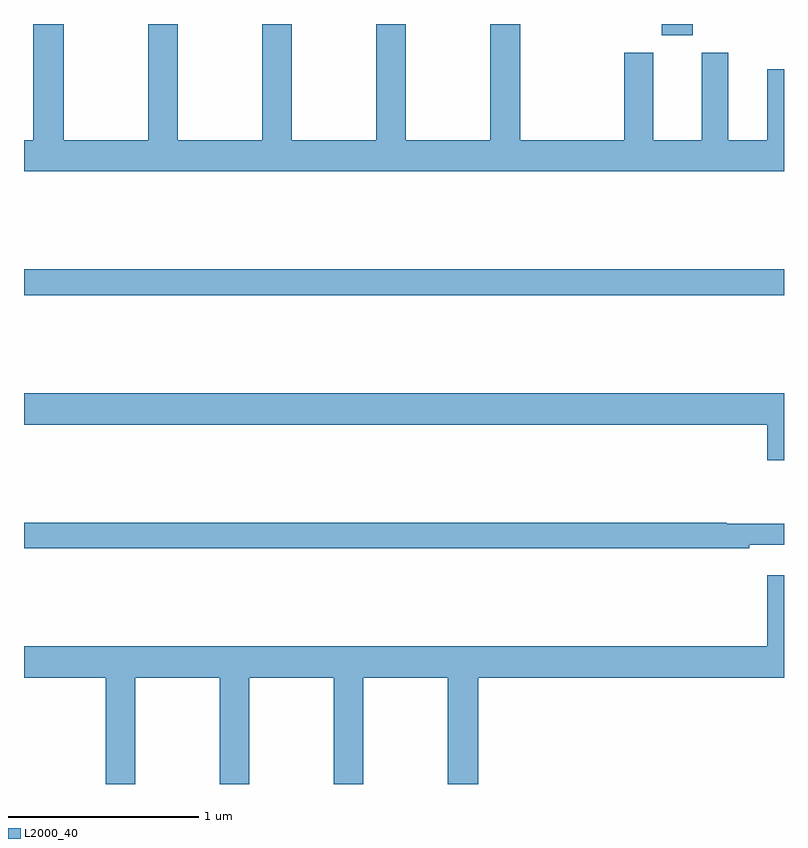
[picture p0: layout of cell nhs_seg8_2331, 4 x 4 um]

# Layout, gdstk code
import gdstk
lib = gdstk.Library(unit=1e-6, precision=1e-09)
def R(c, l, rs):  # rectangles x0, y0, x1, y1
    for r in rs: c.add(gdstk.rectangle(r[:2], r[2:], *l))
def P(c, l, *ps):  # polygons
    for p in ps: c.add(gdstk.Polygon(p, *l))
L2000_40 = (2000, 40)

nhs_seg8_2331 = lib.new_cell('nhs_seg8_2331')
R(nhs_seg8_2331, L2000_40, [(257,1158.472,261,1158.608), (260.357,1159.842,260.521,1159.9)])
P(nhs_seg8_2331, L2000_40, [(260.159,1159.75),(260.159,1159.288),(259.613,1159.288),(259.613,1159.9),(259.453,1159.9),(259.453,1159.288),(259.008,1159.288),(259.008,1159.9),(258.853,1159.9),(258.853,1159.288),(258.408,1159.288),(258.408,1159.9),(258.253,1159.9),(258.253,1159.288),(257.808,1159.288),(257.808,1159.9),(257.653,1159.9),(257.653,1159.288),(257.208,1159.288),(257.208,1159.9),(257.048,1159.9),(257.048,1159.288),(257,1159.288),(257,1159.124),(261,1159.124),(261,1159.663),(260.912,1159.663),(260.912,1159.288),(260.707,1159.288),(260.707,1159.75),(260.567,1159.75),(260.567,1159.288),(260.311,1159.288),(260.311,1159.75)],
  [(261,1157.956),(257,1157.956),(257,1157.792),(260.912,1157.792),(260.912,1157.604),(261,1157.604)],
  [(260.816,1157.159),(261,1157.159),(261,1157.269),(260.699,1157.269),(260.699,1157.276),(257,1157.276),(257,1157.14),(260.816,1157.14)],
  [(257.586,1156.46),(258.031,1156.46),(258.031,1155.9),(258.186,1155.9),(258.186,1156.46),(258.631,1156.46),(258.631,1155.9),(258.786,1155.9),(258.786,1156.46),(259.231,1156.46),(259.231,1155.9),(259.391,1155.9),(259.391,1156.46),(261,1156.46),(261,1156.999),(260.912,1156.999),(260.912,1156.624),(257,1156.624),(257,1156.46),(257.431,1156.46),(257.431,1155.9),(257.586,1155.9)])

lib.write_gds('nhs_seg8_2331.gds')
